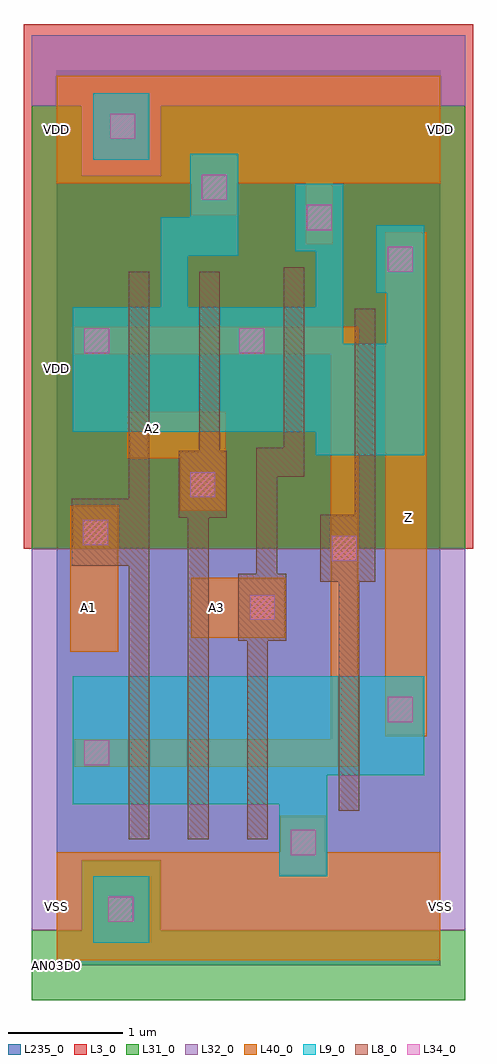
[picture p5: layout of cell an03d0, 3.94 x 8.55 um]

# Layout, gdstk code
import gdstk
lib = gdstk.Library(unit=1e-6, precision=1e-09)
def R(c, l, rs):  # rectangles x0, y0, x1, y1
    for r in rs: c.add(gdstk.rectangle(r[:2], r[2:], *l))
def P(c, l, *ps):  # polygons
    for p in ps: c.add(gdstk.Polygon(p, *l))
L3_0 = (3, 0)
L8_0 = (8, 0)
L9_0 = (9, 0)
L31_0 = (31, 0)
L32_0 = (32, 0)
L34_0 = (34, 0)
L40_0 = (40, 0)
L235_0 = (235, 0)

an03d0 = lib.new_cell('an03d0')
R(an03d0, L3_0, [(-0.29,3.65,3.65,8.245)])
P(an03d0, L8_0, [(1.85,2.84),(2.01,2.84),(2.01,3.43),(1.93,3.43),(1.93,4.28),(2.17,4.28),(2.17,6.115),(1.99,6.115),(1.99,4.535),(1.75,4.535),(1.75,3.43),(1.59,3.43),(1.59,2.84),(1.67,2.84),(1.67,1.105),(1.85,1.105)],
  [(1.33,3.92),(1.49,3.92),(1.49,4.505),(1.43,4.505),(1.43,6.075),(1.25,6.075),(1.25,4.505),(1.07,4.505),(1.07,3.92),(1.15,3.92),(1.15,1.105),(1.33,1.105)],
  [(0.81,6.075),(0.63,6.075),(0.63,4.085),(0.13,4.085),(0.13,3.5),(0.63,3.5),(0.63,1.105),(0.81,1.105)],
  [(2.65,3.36),(2.79,3.36),(2.79,5.75),(2.61,5.75),(2.61,3.945),(2.31,3.945),(2.31,3.36),(2.47,3.36),(2.47,1.355),(2.65,1.355)])
R(an03d0, L9_0, [(0.32,0.195,0.81,0.78), (0.32,7.055,0.81,7.64)])
P(an03d0, L9_0, [(3.22,2.53),(3.22,1.665),(2.37,1.665),(2.37,0.78),(1.95,0.78),(1.95,1.41),(0.14,1.41),(0.14,2.53)],
  [(1.59,7.11),(1.59,6.215),(1.15,6.215),(1.15,5.765),(2.27,5.765),(2.27,6.255),(2.09,6.255),(2.09,6.845),(2.51,6.845),(2.51,5.445),(2.89,5.445),(2.89,5.89),(2.8,5.89),(2.8,6.48),(3.22,6.48),(3.22,4.465),(2.27,4.465),(2.27,4.675),(0.14,4.675),(0.14,5.765),(0.91,5.765),(0.91,6.55),(1.17,6.55),(1.17,7.11)])
P(an03d0, L31_0, [(0.91,0.92),(0.91,0.305),(3.58,0.305),(3.58,-0.305),(-0.22,-0.305),(-0.22,0.305),(0.22,0.305),(0.22,0.92)],
  [(3.58,7.53),(3.58,3.65),(-0.22,3.65),(-0.22,7.53),(0.22,7.53),(0.22,6.915),(0.91,6.915),(0.91,7.53)])
P(an03d0, L32_0, [(3.58,3.65),(3.58,0.305),(0.91,0.305),(0.91,0.92),(0.22,0.92),(0.22,0.305),(-0.22,0.305),(-0.22,3.65)],
  [(3.58,8.145),(3.58,7.53),(0.91,7.53),(0.91,6.915),(0.22,6.915),(0.22,7.53),(-0.22,7.53),(-0.22,8.145)])
R(an03d0, L34_0, [(0.45,0.38,0.67,0.6), (2.05,0.965,2.27,1.185), (0.24,1.75,0.46,1.97), (2.9,2.13,3.12,2.35), (1.69,3.025,1.91,3.245), (2.41,3.54,2.63,3.76), (0.23,3.68,0.45,3.9), (1.17,4.1,1.39,4.32), (0.24,5.36,0.46,5.58), (1.6,5.36,1.82,5.58), (2.9,6.075,3.12,6.295), (2.19,6.44,2.41,6.66), (1.27,6.705,1.49,6.925), (0.47,7.24,0.69,7.46)])
R(an03d0, L40_0, [(2.88,2.005,3.24,6.42), (0.12,2.745,0.54,4.025), (1.18,2.87,2,3.395)])
P(an03d0, L40_0, [(0,6.85),(1.18,6.85),(1.18,6.57),(1.58,6.57),(1.58,6.85),(2.18,6.85),(2.18,6.315),(2.42,6.315),(2.42,6.85),(3.36,6.85),(3.36,7.79),(0,7.79)],
  [(0.15,5.35),(2.4,5.35),(2.4,1.98),(0.15,1.98),(0.15,1.74),(2.64,1.74),(2.64,5.595),(0.15,5.595)],
  [(0.62,4.44),(1.08,4.44),(1.08,3.98),(1.48,3.98),(1.48,4.85),(0.62,4.85)],
  [(1.96,1.31),(1.96,0.99),(0,0.99),(0,0.045),(3.36,0.045),(3.36,0.99),(2.36,0.99),(2.36,1.31)])
R(an03d0, L235_0, [(0,0,3.36,7.84)])
an03d0.add(gdstk.Label('VDD', (0,5.23), layer=40, texttype=7))
an03d0.add(gdstk.Label('VDD', (0,5.23), layer=40, texttype=7))
an03d0.add(gdstk.Label('VDD', (0,5.23), layer=40, texttype=7))
an03d0.add(gdstk.Label('VDD', (0,5.23), layer=40, texttype=7))
an03d0.add(gdstk.Label('VDD', (0,5.23), layer=40, texttype=7))
an03d0.add(gdstk.Label('Copyright (c) 2003, 2004 Synopsys, Inc.', (0,-2.24), layer=96, texttype=0))
an03d0.add(gdstk.Label('DT. 10-Sep-2002 16:35:18', (0,-1.68), layer=96, texttype=0))
an03d0.add(gdstk.Label('Rev. 1', (0,-1.12), layer=96, texttype=0))
an03d0.add(gdstk.Label('3-INPUT AND, 0.5X DRIVE', (0,-0.56), layer=96, texttype=0))
an03d0.add(gdstk.Label('AN03D0', (0,0), layer=96, texttype=0))
an03d0.add(gdstk.Label('A3', (1.4,3.135), layer=40, texttype=7))
an03d0.add(gdstk.Label('Z', (3.08,3.92), layer=40, texttype=7))
an03d0.add(gdstk.Label('A2', (0.84,4.7), layer=40, texttype=7))
an03d0.add(gdstk.Label('A1', (0.28,3.135), layer=40, texttype=7))
an03d0.add(gdstk.Label('VSS', (3.36,0.515), layer=40, texttype=7))
an03d0.add(gdstk.Label('VDD', (3.36,7.32), layer=40, texttype=7))
an03d0.add(gdstk.Label('VSS', (0,0.515), layer=40, texttype=7))
an03d0.add(gdstk.Label('VDD', (0,7.32), layer=40, texttype=7))

lib.write_gds('an03d0.gds')
